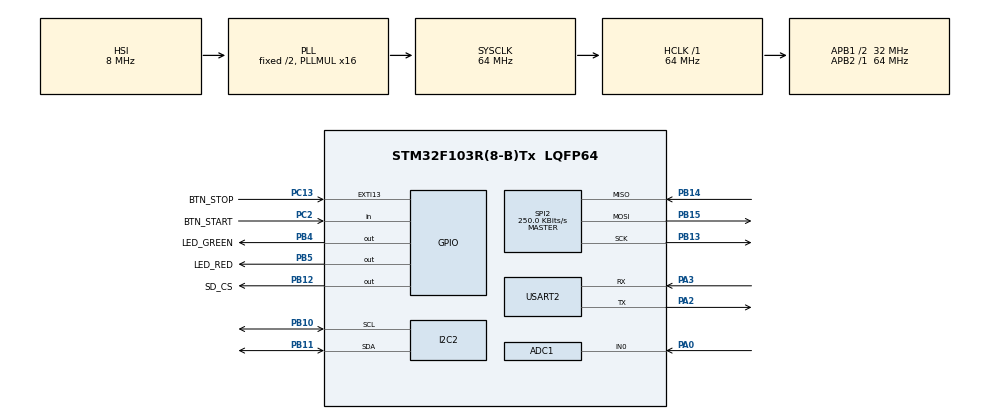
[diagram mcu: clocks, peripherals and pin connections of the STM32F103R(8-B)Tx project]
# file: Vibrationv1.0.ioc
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ADC1.Channel-7\#ChannelRegularConversion=ADC_CHANNEL_0
ADC1.ExternalTrigConv=ADC_EXTERNALTRIGCONV_T4_CC4
ADC1.NbrOfConversionFlag=1
ADC1.Rank-7\#ChannelRegularConversion=1
ADC1.SamplingTime-7\#ChannelRegularConversion=ADC_SAMPLETIME_1CYCLE_5
ADC1.master=1
Dma.ADC1.0.Direction=DMA_PERIPH_TO_MEMORY
Dma.ADC1.0.Instance=DMA1_Channel1
Dma.ADC1.0.MemDataAlignment=DMA_MDATAALIGN_HALFWORD
Dma.ADC1.0.MemInc=DMA_MINC_ENABLE
Dma.ADC1.0.Mode=DMA_CIRCULAR
Dma.ADC1.0.PeriphDataAlignment=DMA_PDATAALIGN_HALFWORD
Dma.ADC1.0.PeriphInc=DMA_PINC_DISABLE
Dma.ADC1.0.Priority=DMA_PRIORITY_LOW
Dma.Request0=ADC1
Mcu.Family=STM32F1
Mcu.Name=STM32F103R(8-B)Tx
Mcu.Package=LQFP64
NVIC.ADC1_2_IRQn=true\:0\:0\:false\:false\:true\:true\:true\:true
NVIC.DMA1_Channel1_IRQn=true\:0\:0\:false\:false\:true\:false\:true\:true
NVIC.EXTI15_10_IRQn=true\:0\:0\:false\:false\:true\:true\:true\:true
NVIC.PriorityGroup=NVIC_PRIORITYGROUP_4
NVIC.USART2_IRQn=true\:1\:0\:true\:false\:true\:true\:true\:true
PA0-WKUP.Signal=ADCx_IN0
PA13.GPIO_Label=TMS
PA13.Mode=Serial_Wire
PA13.Signal=SYS_JTMS-SWDIO
PA14.GPIO_Label=TCK
PA14.Mode=Serial_Wire
PA14.Signal=SYS_JTCK-SWCLK
PA2.Mode=Asynchronous
PA2.Signal=USART2_TX
PA3.Mode=Asynchronous
PA3.Signal=USART2_RX
PB10.Mode=I2C
PB10.Signal=I2C2_SCL
PB11.Mode=I2C
PB11.Signal=I2C2_SDA
PB12.GPIO_Label=SD_CS
PB12.Signal=GPIO_Output
PB13.Mode=Full_Duplex_Master
PB13.Signal=SPI2_SCK
PB14.Mode=Full_Duplex_Master
PB14.Signal=SPI2_MISO
PB15.Mode=Full_Duplex_Master
PB15.Signal=SPI2_MOSI
PB3.GPIO_Label=SWO
PB3.Signal=SYS_JTDO-TRACESWO
PB4.GPIO_Label=LED_GREEN
PB4.Signal=GPIO_Output
PB5.GPIO_Label=LED_RED
PB5.Signal=GPIO_Output
PC13-TAMPER-RTC.GPIO_Label=BTN_STOP
PC13-TAMPER-RTC.GPIO_ModeDefaultEXTI=GPIO_MODE_IT_RISING_FALLING
PC13-TAMPER-RTC.GPIO_PuPd=GPIO_PULLUP
PC13-TAMPER-RTC.Signal=GPXTI13
PC14-OSC32_IN.Mode=LSE-External-Oscillator
PC14-OSC32_IN.Signal=RCC_OSC32_IN
PC15-OSC32_OUT.Mode=LSE-External-Oscillator
PC15-OSC32_OUT.Signal=RCC_OSC32_OUT
PC2.GPIO_Label=BTN_START
PC2.GPIO_PuPd=GPIO_PULLUP
PC2.Signal=GPIO_Input
PD0-OSC_IN.Mode=HSE-External-Oscillator
PD0-OSC_IN.Signal=RCC_OSC_IN
PD1-OSC_OUT.Mode=HSE-External-Oscillator
PD1-OSC_OUT.Signal=RCC_OSC_OUT
ProjectManager.HeapSize=0x200
ProjectManager.StackSize=0x400
ProjectManager.TargetToolchain=STM32CubeIDE
RCC.ADCPresc=RCC_ADCPCLK2_DIV6
RCC.AHBFreq_Value=64000000
RCC.APB1CLKDivider=RCC_HCLK_DIV2
RCC.APB1Freq_Value=32000000
RCC.APB1TimFreq_Value=64000000
RCC.APB2Freq_Value=64000000
RCC.APB2TimFreq_Value=64000000
RCC.HCLKFreq_Value=64000000
RCC.PLLMUL=RCC_PLL_MUL16
RCC.RTCClockSelection=RCC_RTCCLKSOURCE_LSE
RCC.SYSCLKFreq_VALUE=64000000
RCC.SYSCLKSource=RCC_SYSCLKSOURCE_PLLCLK
RCC.USBFreq_Value=64000000
SH.ADCx_IN0.0=ADC1_IN0,IN0
SPI2.BaudRatePrescaler=SPI_BAUDRATEPRESCALER_128
SPI2.CalculateBaudRate=250.0 KBits/s
SPI2.Direction=SPI_DIRECTION_2LINES
SPI2.Mode=SPI_MODE_MASTER
SPI2.VirtualType=VM_MASTER
TIM4.Channel-Output\ Compare4\ No\ Output=TIM_CHANNEL_4
TIM4.OCMode_4=TIM_OCMODE_TOGGLE
TIM4.Period=399
TIM4.Prescaler=79
USART2.VirtualMode=VM_ASYNC
VP_FATFS_VS_Generic.Mode=User_defined
VP_TIM4_VS_no_output4.Mode=Output Compare4 No Output
board=NUCLEO-F103RB

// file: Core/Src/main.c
/* USER CODE BEGIN Header */
/**
  ******************************************************************************
  * @file           : main.c
  * @brief          : Main program body
  ******************************************************************************
  * @attention
  *
  * Copyright (c) 2023 STMicroelectronics.
  * All rights reserved.
  *
  * This software is licensed under terms that can be found in the LICENSE file
  * in the root directory of this software component.
  * If no LICENSE file comes with this software, it is provided AS-IS.
  *
  ******************************************************************************
  */
/* USER CODE END Header */
#include "main.h"
#include "fatfs.h"

/* USER CODE BEGIN Includes */
#include <string.h>
#include <math.h>
#include <stdio.h>
#include "vibric.h"
#include "ds1307.h"
#include "command_viric.h"
/* USER CODE END Includes */

/* USER CODE BEGIN PD */
#define ADC_BUFFER_SIZE 1024//512//256
#define BUFFER_SIZE ADC_BUFFER_SIZE// * 2
#define VIBRIC_DATA_SIZE 8192//65536//8192
#define COMMAND_SIZE 21
#define SYS_FREQ 32000000
#define TIM4_PRESCALER 80
#define FREQ_TEST 1 // 0 - NO TEST; 1 - WRITE IN FILE REGISTER TIME AND NUMBER OF ELEMENTS FOR FREQUENCY TEST
/* USER CODE END PD */

ADC_HandleTypeDef hadc1;
DMA_HandleTypeDef hdma_adc1;

I2C_HandleTypeDef hi2c2;

SPI_HandleTypeDef hspi2;

TIM_HandleTypeDef htim4;

UART_HandleTypeDef huart2;

/* USER CODE BEGIN PV */
uint16_t adcBuffer[ADC_BUFFER_SIZE] = {0, };
FATFS fs = {0}; // ПРАВКА!
FIL fil;
FRESULT fresult;
UINT br, bw;
char buffer[BUFFER_SIZE] = {0, };
vibric_header* vibric;
UINT size_control = 0;
char is_started, is_stoped;
int delay_time;
uint8_t receive_uart_buffer[25];

#if FREQ_TEST == 1
	int start_time;
#endif
/* USER CODE END PV */

void SystemClock_Config(void);
static void MX_GPIO_Init(void);
static void MX_DMA_Init(void);
static void MX_ADC1_Init(void);
static void MX_TIM4_Init(void);
static void MX_SPI2_Init(void);
static void MX_I2C2_Init(void);
static void MX_USART2_UART_Init(void);

/* USER CODE BEGIN 0 */
int getbufferLength(char buffer[]) {
	int i = 0;
	while (buffer[i] != '\0') {
		i++;
	}
	return i;
}

void startWritingInFile() {
	MX_FATFS_Init();
	fresult = f_mount(&fs, "", 1);
	while (fresult != FR_OK) {
		HAL_Delay(50);
		MX_FATFS_DeInit();
		HAL_GPIO_WritePin(LED_RED_GPIO_Port, LED_RED_Pin, GPIO_PIN_SET);
		HAL_Delay(50);
		MX_FATFS_Init();
		fresult = f_mount(&fs, "", 1);
	}
	HAL_GPIO_WritePin(LED_RED_GPIO_Port, LED_RED_Pin, GPIO_PIN_RESET);
	HAL_GPIO_WritePin(LED_GREEN_GPIO_Port, LED_GREEN_Pin, GPIO_PIN_SET);
	char* file_datetime = DS1307_GetCurrentDateTimeForFile(); // datetime for filename
	if (file_datetime == NULL) {
		fresult = f_open(&fil, "data.dat", FA_CREATE_ALWAYS | FA_WRITE);
	} else {
		char* filename = (char*)malloc(8 * sizeof(char));
		sprintf(filename, "%s.dat", file_datetime);
//		filename[16] = '\0';
		fresult = f_open(&fil, filename, FA_CREATE_ALWAYS | FA_WRITE);
		char* datetime_label = DS1307_GetCurrentDateTime(); // datetime для метки внутри файла
		if (datetime_label != NULL) {
			char* label = (char*)malloc(13 * sizeof(char));
			sprintf(label, "%s\n", datetime_label);
			fresult = f_write(&fil, label, 13, &bw);
			free(label);
		} else {
			fresult = f_write(&fil, "UNDEFINED\n", 10, &bw);
		}
		free(datetime_label);
		free(filename);
	}
	free(file_datetime);
	HAL_ADC_Start_DMA(&hadc1, (uint32_t*)&adcBuffer, ADC_BUFFER_SIZE);
	HAL_TIM_OC_Start(&htim4, TIM_CHANNEL_4);
#if FREQ_TEST == 1
	start_time = HAL_GetTick();
#endif
}

void stopWritingInFile() {
#if FREQ_TEST == 1
	int writing_time = HAL_GetTick() - start_time;
	char info[100];
	sprintf(info, "\nWriting Time: %d\nCount of elements: %d\n", writing_time, size_control);
	fresult = f_write(&fil, info, getbufferLength(info), &bw);
#endif

	is_started = 0;
	size_control = 0;
	HAL_ADC_Stop_DMA(&hadc1);
	HAL_TIM_OC_Stop(&htim4, TIM_CHANNEL_4);
	fresult = f_close(&fil);
	fresult = f_mount(0, "", 0);
	MX_FATFS_DeInit();
	HAL_GPIO_WritePin(LED_GREEN_GPIO_Port, LED_GREEN_Pin, GPIO_PIN_RESET);
}

void writeDataFromADCToFileByTime(int offset, int adc_buffer_size)
{
	if (size_control != VIBRIC_DATA_SIZE) {
		memset(buffer, 0, BUFFER_SIZE);
		memcpy(buffer, adcBuffer + offset, BUFFER_SIZE);
		fresult = f_write(&fil, buffer, BUFFER_SIZE, &bw);
		size_control += adc_buffer_size;
	}
	else {
		stopWritingInFile();
	}

}

void writeDataFromADCToFile(int offset, int adc_buffer_size)
{
	if ((HAL_GetTick() - start_time) <= 3000) {
	memset(buffer, 0, BUFFER_SIZE);
	memcpy(buffer, adcBuffer + offset, BUFFER_SIZE);
	fresult = f_write(&fil, buffer, BUFFER_SIZE, &bw);
	size_control += adc_buffer_size; // optional
	} else {
		stopWritingInFile();
	}
}

void HAL_ADC_ConvHalfCpltCallback(ADC_HandleTypeDef* hadc)
{
	if ((hadc->Instance == ADC1) && (is_started)) {
		writeDataFromADCToFile(0, ADC_BUFFER_SIZE / 2);
	}
}

void HAL_ADC_ConvCpltCallback(ADC_HandleTypeDef* hadc)
{
	if ((hadc->Instance == ADC1) && (is_started))
	{
		writeDataFromADCToFile(ADC_BUFFER_SIZE / 2, ADC_BUFFER_SIZE / 2);
	}
}

void HAL_GPIO_EXTI_Callback(uint16_t GPIO_Pin)
{
	if (GPIO_Pin == BTN_STOP_Pin) {
		if (HAL_GPIO_ReadPin(BTN_STOP_GPIO_Port, BTN_STOP_Pin) == GPIO_PIN_RESET)
			delay_time = HAL_GetTick();
		else  if (HAL_GPIO_ReadPin(BTN_START_GPIO_Port, BTN_STOP_Pin) == GPIO_PIN_SET){
			if (((HAL_GetTick() - delay_time) >= 20) && ((HAL_GetTick() - delay_time) <= 1000) && is_started) {
				stopWritingInFile();
			}
			else if ((HAL_GetTick() - delay_time) > 1000) {
				HAL_GPIO_TogglePin(LED_RED_GPIO_Port, LED_RED_Pin);
				NVIC_SystemReset();
			}
		}
	}
}

void HAL_UART_RxCpltCallback(UART_HandleTypeDef *huart) {
	if (is_started) {
		HAL_UART_Transmit_IT(&huart2, (uint8_t*)"(DLIS,0,000000000000)", COMMAND_SIZE);
	}
	else {
		Vibric_CommandTypeDef command;
		command = Vibric_ParseCommand((char*)receive_uart_buffer);
		if (strcmp(command.name, "SAMP") == 0) {
			switch (command.code) {
			case 0: {
				break;
			}
			case 1: {
				int freq = Vibric_ConvertCommandDataToInt(command.data);
				int counter = (SYS_FREQ / (freq * TIM4_PRESCALER)) - 1;
//				TIM4->CCR4 = counter;
				TIM4->ARR = counter;
				HAL_UART_Transmit_IT(&huart2, (uint8_t*)"(SAMP,1,000000000000)", 21);
			}
			}
		}
		else if (strcmp(command.name, "TIME") == 0) {
			switch (command.code) {
			case 0:
				char* time = DS1307_GetCurrentDateTimeCommand();
				if (time == NULL) {
					HAL_UART_Transmit_IT(&huart2, (uint8_t*)"(TIME,2,111111111111)", 21);
				}
				else
					HAL_UART_Transmit_IT(&huart2, (uint8_t*)time, 21);
				free(time);
				break;
			case 1: {
				DS1307_SetDateTime(command.data);
				HAL_UART_Transmit_IT(&huart2, (uint8_t*)"(TIME,3,000000000000)", 21);
				break;
			}
			case 2: {
				// TODO Get launch time
				break;
			}
			case 3: {
				// TODO Set launch time
				break;
			}
			case 4: {
				// TODO Get end time
				break;
			}
			case 5: {
				// TODO Set end time
				break;
			}
			}
		}
	}
	memset(receive_uart_buffer, 0, sizeof(receive_uart_buffer));
	HAL_UART_Receive_IT(&huart2, receive_uart_buffer, 21);
}
/* USER CODE END 0 */

int main(void)
{

  /* MCU Configuration--------------------------------------------------------*/

  /* Reset of all peripherals, Initializes the Flash interface and the Systick. */
  HAL_Init();

  /* Configure the system clock */
  SystemClock_Config();

  /* Initialize all configured peripherals */
  MX_GPIO_Init();
  MX_DMA_Init();
  MX_FATFS_Init();
  MX_ADC1_Init();
  MX_TIM4_Init();
  MX_SPI2_Init();
  MX_I2C2_Init();
  MX_USART2_UART_Init();
  /* USER CODE BEGIN 2 */
  is_started = 0;
  is_stoped = 0;

  // RTC Initialization
  DS1307_Init(&hi2c2);
  DS1307_SetRate(DS1307_32768Hz);

  // UART Rx Initialization
  memset(receive_uart_buffer, 0, 25);
  HAL_UART_Receive_IT(&huart2, receive_uart_buffer, 21);

  // Test init of FatFS
  MX_FATFS_Init();
  fresult = f_mount(&fs, "", 1);
  while (fresult != FR_OK) {
	  HAL_GPIO_TogglePin(LED_RED_GPIO_Port, LED_RED_Pin);
	  HAL_Delay(500);
	  HAL_GPIO_TogglePin(LED_RED_GPIO_Port, LED_RED_Pin);
  }
  fresult = f_mount(0, "", 0);
  MX_FATFS_DeInit();

  HAL_ADCEx_Calibration_Start(&hadc1);
  for (int i = 0; i < 10; i++) {
	  HAL_Delay(100);
	  HAL_GPIO_TogglePin(LED_GREEN_GPIO_Port, LED_GREEN_Pin);
  	  HAL_Delay(100);
  	  HAL_GPIO_TogglePin(LED_GREEN_GPIO_Port, LED_GREEN_Pin);
  }
  /* USER CODE END 2 */

  /* Infinite loop */
  /* USER CODE BEGIN WHILE */
  while (1)
  {
	  if ((HAL_GPIO_ReadPin(BTN_START_GPIO_Port, BTN_START_Pin) == GPIO_PIN_RESET) && !is_started) {
		  is_started = 1;
		  startWritingInFile();
	  }
    /* USER CODE END WHILE */

  }
}

void SystemClock_Config(void)
{
  RCC_OscInitTypeDef RCC_OscInitStruct = {0};
  RCC_ClkInitTypeDef RCC_ClkInitStruct = {0};
  RCC_PeriphCLKInitTypeDef PeriphClkInit = {0};

  /** Initializes the RCC Oscillators according to the specified parameters
  * in the RCC_OscInitTypeDef structure.
  */
  RCC_OscInitStruct.OscillatorType = RCC_OSCILLATORTYPE_HSI;
  RCC_OscInitStruct.HSIState = RCC_HSI_ON;
  RCC_OscInitStruct.HSICalibrationValue = RCC_HSICALIBRATION_DEFAULT;
  RCC_OscInitStruct.PLL.PLLState = RCC_PLL_ON;
  RCC_OscInitStruct.PLL.PLLSource = RCC_PLLSOURCE_HSI_DIV2;
  RCC_OscInitStruct.PLL.PLLMUL = RCC_PLL_MUL16;
  if (HAL_RCC_OscConfig(&RCC_OscInitStruct) != HAL_OK)
  {
    Error_Handler();
  }

  /** Initializes the CPU, AHB and APB buses clocks
  */
  RCC_ClkInitStruct.ClockType = RCC_CLOCKTYPE_HCLK|RCC_CLOCKTYPE_SYSCLK
                              |RCC_CLOCKTYPE_PCLK1|RCC_CLOCKTYPE_PCLK2;
  RCC_ClkInitStruct.SYSCLKSource = RCC_SYSCLKSOURCE_PLLCLK;
  RCC_ClkInitStruct.AHBCLKDivider = RCC_SYSCLK_DIV1;
  RCC_ClkInitStruct.APB1CLKDivider = RCC_HCLK_DIV2;
  RCC_ClkInitStruct.APB2CLKDivider = RCC_HCLK_DIV1;

  if (HAL_RCC_ClockConfig(&RCC_ClkInitStruct, FLASH_LATENCY_2) != HAL_OK)
  {
    Error_Handler();
  }
  PeriphClkInit.PeriphClockSelection = RCC_PERIPHCLK_ADC;
  PeriphClkInit.AdcClockSelection = RCC_ADCPCLK2_DIV6;
  if (HAL_RCCEx_PeriphCLKConfig(&PeriphClkInit) != HAL_OK)
  {
    Error_Handler();
  }
}

static void MX_ADC1_Init(void)
{

  ADC_ChannelConfTypeDef sConfig = {0};

  /** Common config
  */
  hadc1.Instance = ADC1;
  hadc1.Init.ScanConvMode = ADC_SCAN_DISABLE;
  hadc1.Init.ContinuousConvMode = DISABLE;
  hadc1.Init.DiscontinuousConvMode = DISABLE;
  hadc1.Init.ExternalTrigConv = ADC_EXTERNALTRIGCONV_T4_CC4;
  hadc1.Init.DataAlign = ADC_DATAALIGN_RIGHT;
  hadc1.Init.NbrOfConversion = 1;
  if (HAL_ADC_Init(&hadc1) != HAL_OK)
  {
    Error_Handler();
  }

  /** Configure Regular Channel
  */
  sConfig.Channel = ADC_CHANNEL_0;
  sConfig.Rank = ADC_REGULAR_RANK_1;
  sConfig.SamplingTime = ADC_SAMPLETIME_1CYCLE_5;
  if (HAL_ADC_ConfigChannel(&hadc1, &sConfig) != HAL_OK)
  {
    Error_Handler();
  }

}

static void MX_I2C2_Init(void)
{

  hi2c2.Instance = I2C2;
  hi2c2.Init.ClockSpeed = 100000;
  hi2c2.Init.DutyCycle = I2C_DUTYCYCLE_2;
  hi2c2.Init.OwnAddress1 = 0;
  hi2c2.Init.AddressingMode = I2C_ADDRESSINGMODE_7BIT;
  hi2c2.Init.DualAddressMode = I2C_DUALADDRESS_DISABLE;
  hi2c2.Init.OwnAddress2 = 0;
  hi2c2.Init.GeneralCallMode = I2C_GENERALCALL_DISABLE;
  hi2c2.Init.NoStretchMode = I2C_NOSTRETCH_DISABLE;
  if (HAL_I2C_Init(&hi2c2) != HAL_OK)
  {
    Error_Handler();
  }

}

static void MX_SPI2_Init(void)
{

  /* SPI2 parameter configuration*/
  hspi2.Instance = SPI2;
  hspi2.Init.Mode = SPI_MODE_MASTER;
  hspi2.Init.Direction = SPI_DIRECTION_2LINES;
  hspi2.Init.DataSize = SPI_DATASIZE_8BIT;
  hspi2.Init.CLKPolarity = SPI_POLARITY_LOW;
  hspi2.Init.CLKPhase = SPI_PHASE_1EDGE;
  hspi2.Init.NSS = SPI_NSS_SOFT;
  hspi2.Init.BaudRatePrescaler = SPI_BAUDRATEPRESCALER_128;
  hspi2.Init.FirstBit = SPI_FIRSTBIT_MSB;
  hspi2.Init.TIMode = SPI_TIMODE_DISABLE;
  hspi2.Init.CRCCalculation = SPI_CRCCALCULATION_DISABLE;
  hspi2.Init.CRCPolynomial = 10;
  if (HAL_SPI_Init(&hspi2) != HAL_OK)
  {
    Error_Handler();
  }

}

static void MX_TIM4_Init(void)
{

  TIM_MasterConfigTypeDef sMasterConfig = {0};
  TIM_OC_InitTypeDef sConfigOC = {0};

  htim4.Instance = TIM4;
  htim4.Init.Prescaler = 79;
  htim4.Init.CounterMode = TIM_COUNTERMODE_UP;
  htim4.Init.Period = 399;
  htim4.Init.ClockDivision = TIM_CLOCKDIVISION_DIV1;
  htim4.Init.AutoReloadPreload = TIM_AUTORELOAD_PRELOAD_DISABLE;
  if (HAL_TIM_OC_Init(&htim4) != HAL_OK)
  {
    Error_Handler();
  }
  sMasterConfig.MasterOutputTrigger = TIM_TRGO_RESET;
  sMasterConfig.MasterSlaveMode = TIM_MASTERSLAVEMODE_DISABLE;
  if (HAL_TIMEx_MasterConfigSynchronization(&htim4, &sMasterConfig) != HAL_OK)
  {
    Error_Handler();
  }
  sConfigOC.OCMode = TIM_OCMODE_TOGGLE;
  sConfigOC.Pulse = 0;
  sConfigOC.OCPolarity = TIM_OCPOLARITY_HIGH;
  sConfigOC.OCFastMode = TIM_OCFAST_DISABLE;
  if (HAL_TIM_OC_ConfigChannel(&htim4, &sConfigOC, TIM_CHANNEL_4) != HAL_OK)
  {
    Error_Handler();
  }

}

static void MX_USART2_UART_Init(void)
{

  huart2.Instance = USART2;
  huart2.Init.BaudRate = 115200;
  huart2.Init.WordLength = UART_WORDLENGTH_8B;
  huart2.Init.StopBits = UART_STOPBITS_1;
  huart2.Init.Parity = UART_PARITY_NONE;
  huart2.Init.Mode = UART_MODE_TX_RX;
  huart2.Init.HwFlowCtl = UART_HWCONTROL_NONE;
  huart2.Init.OverSampling = UART_OVERSAMPLING_16;
  if (HAL_UART_Init(&huart2) != HAL_OK)
  {
    Error_Handler();
  }

}

static void MX_DMA_Init(void)
{

  /* DMA controller clock enable */
  __HAL_RCC_DMA1_CLK_ENABLE();

  /* DMA interrupt init */
  /* DMA1_Channel1_IRQn interrupt configuration */
  HAL_NVIC_SetPriority(DMA1_Channel1_IRQn, 0, 0);
  HAL_NVIC_EnableIRQ(DMA1_Channel1_IRQn);

}

static void MX_GPIO_Init(void)
{
  GPIO_InitTypeDef GPIO_InitStruct = {0};

  /* GPIO Ports Clock Enable */
  __HAL_RCC_GPIOC_CLK_ENABLE();
  __HAL_RCC_GPIOD_CLK_ENABLE();
  __HAL_RCC_GPIOA_CLK_ENABLE();
  __HAL_RCC_GPIOB_CLK_ENABLE();

  /*Configure GPIO pin Output Level */
  HAL_GPIO_WritePin(GPIOB, SD_CS_Pin|LED_GREEN_Pin|LED_RED_Pin, GPIO_PIN_RESET);

  /*Configure GPIO pin : BTN_STOP_Pin */
  GPIO_InitStruct.Pin = BTN_STOP_Pin;
  GPIO_InitStruct.Mode = GPIO_MODE_IT_RISING_FALLING;
  GPIO_InitStruct.Pull = GPIO_PULLUP;
  HAL_GPIO_Init(BTN_STOP_GPIO_Port, &GPIO_InitStruct);

  /*Configure GPIO pin : BTN_START_Pin */
  GPIO_InitStruct.Pin = BTN_START_Pin;
  GPIO_InitStruct.Mode = GPIO_MODE_INPUT;
  GPIO_InitStruct.Pull = GPIO_PULLUP;
  HAL_GPIO_Init(BTN_START_GPIO_Port, &GPIO_InitStruct);

  /*Configure GPIO pins : SD_CS_Pin LED_GREEN_Pin LED_RED_Pin */
  GPIO_InitStruct.Pin = SD_CS_Pin|LED_GREEN_Pin|LED_RED_Pin;
  GPIO_InitStruct.Mode = GPIO_MODE_OUTPUT_PP;
  GPIO_InitStruct.Pull = GPIO_NOPULL;
  GPIO_InitStruct.Speed = GPIO_SPEED_FREQ_LOW;
  HAL_GPIO_Init(GPIOB, &GPIO_InitStruct);

  /* EXTI interrupt init*/
  HAL_NVIC_SetPriority(EXTI15_10_IRQn, 0, 0);
  HAL_NVIC_EnableIRQ(EXTI15_10_IRQn);

}

void Error_Handler(void)
{
  __disable_irq();
  while (1)
  {
  }
}
